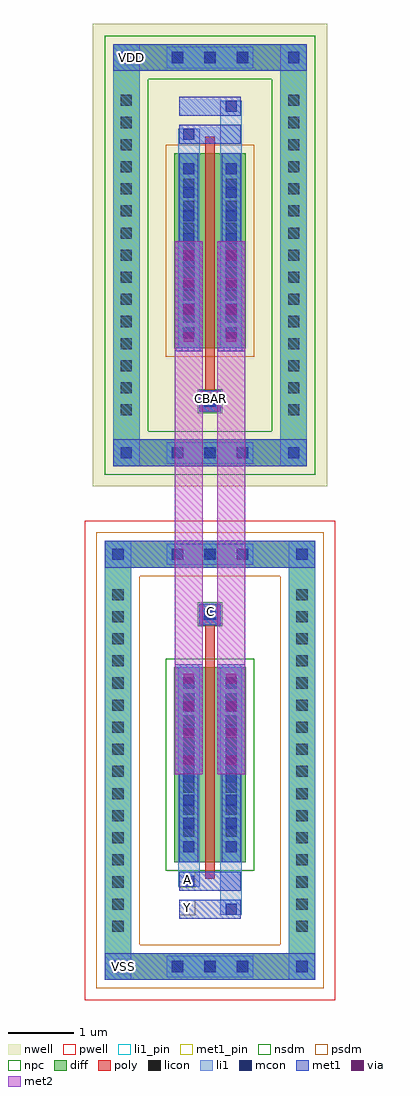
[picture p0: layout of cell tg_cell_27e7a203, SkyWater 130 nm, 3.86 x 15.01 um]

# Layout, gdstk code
import gdstk
lib = gdstk.Library(unit=1e-6, precision=5e-09)
def R(c, l, rs):  # rectangles x0, y0, x1, y1
    for r in rs: c.add(gdstk.rectangle(r[:2], r[2:], *l))
def A(c, l, x, y, w, h, nx, ny, dx, dy):  # array of equal rectangles
    R(c, l, [(x+i*dx, y+j*dy, x+i*dx+w, y+j*dy+h) for i in range(nx) for j in range(ny)])
def P(c, l, *ps):  # polygons
    for p in ps: c.add(gdstk.Polygon(p, *l))
nwell = (64, 20)
pwell = (64, 44)
diff = (65, 20)
poly = (66, 20)
licon = (66, 44)
li1_pin = (67, 16)
li1 = (67, 20)
mcon = (67, 44)
met1_pin = (68, 16)
met1 = (68, 20)
via = (68, 44)
met2 = (69, 20)
nsdm = (93, 44)
psdm = (94, 20)
npc = (95, 20)

tg_cell_27e7a203 = lib.new_cell('tg_cell_27e7a203')
R(tg_cell_27e7a203, nwell, [(-1.8,4.215,1.8,11.325)])
R(tg_cell_27e7a203, pwell, [(-1.93,-3.685,1.93,3.685)])
A(tg_cell_27e7a203, diff, -0.705, -3.375, 0.41, 0.41, 3, 2, 0.5, 6.34)
A(tg_cell_27e7a203, diff, -1.62, -2.755, 0.41, 0.41, 1, 16, 0, 0.34)
A(tg_cell_27e7a203, diff, 1.21, -2.755, 0.41, 0.41, 1, 16, 0, 0.34)
A(tg_cell_27e7a203, diff, -0.705, 4.525, 0.41, 0.41, 3, 2, 0.5, 6.08)
A(tg_cell_27e7a203, diff, -1.49, 5.185, 0.41, 0.41, 1, 15, 0, 0.34)
A(tg_cell_27e7a203, diff, 1.08, 5.185, 0.41, 0.41, 1, 15, 0, 0.34)
R(tg_cell_27e7a203, diff, [(-0.705,-3.375,0.705,-2.965), (-1.62,-2.755,-1.21,2.755), (1.21,-2.755,1.62,2.755), (-0.55,-1.57,0.55,1.43), (-0.705,2.965,0.705,3.375), (-0.705,4.525,0.705,4.935), (-1.49,5.185,-1.08,10.355), (1.08,5.185,1.49,10.355), (-0.55,6.34,0.55,9.34), (-0.705,10.605,0.705,11.015)])
P(tg_cell_27e7a203, diff, [(1.49,11.015),(-1.49,11.015),(-1.49,4.935),(-1.08,4.935),(-1.08,10.605),(1.08,10.605),(1.08,4.935),(-1.08,4.935),(-1.49,4.935),(-1.49,4.525),(1.49,4.525)],
  [(1.62,-3.375),(-1.62,-3.375),(-1.62,2.965),(-1.21,2.965),(-1.21,-2.965),(1.21,-2.965),(1.21,2.965),(-1.21,2.965),(-1.62,2.965),(-1.62,3.375),(1.62,3.375)])
R(tg_cell_27e7a203, poly, [(-0.075,-1.82,0.075,1.68), (-0.075,1.68,0.075,2.08), (-0.165,2.08,0.165,2.41), (-0.165,2.08,0.165,2.41), (-0.165,5.36,0.165,5.69), (-0.165,5.36,0.165,5.69), (-0.075,5.69,0.075,6.09), (-0.075,6.09,0.075,9.59)])
A(tg_cell_27e7a203, licon, -0.585, -3.255, 0.17, 0.17, 3, 2, 0.5, 6.34)
A(tg_cell_27e7a203, licon, -1.5, -2.635, 0.17, 0.17, 1, 16, 0, 0.34)
A(tg_cell_27e7a203, licon, 1.33, -2.635, 0.17, 0.17, 1, 16, 0, 0.34)
A(tg_cell_27e7a203, licon, -0.41, -1.175, 0.17, 0.17, 1, 7, 0, 0.34)
A(tg_cell_27e7a203, licon, 0.24, -1.175, 0.17, 0.17, 1, 7, 0, 0.34)
A(tg_cell_27e7a203, licon, -0.585, 4.645, 0.17, 0.17, 3, 2, 0.5, 6.08)
A(tg_cell_27e7a203, licon, -1.37, 5.305, 0.17, 0.17, 1, 15, 0, 0.34)
A(tg_cell_27e7a203, licon, 1.2, 5.305, 0.17, 0.17, 1, 15, 0, 0.34)
A(tg_cell_27e7a203, licon, -0.41, 6.735, 0.17, 0.17, 1, 7, 0, 0.34)
A(tg_cell_27e7a203, licon, 0.24, 6.735, 0.17, 0.17, 1, 7, 0, 0.34)
R(tg_cell_27e7a203, licon, [(-0.085,2.16,0.085,2.33), (-0.085,5.44,0.085,5.61)])
R(tg_cell_27e7a203, li1_pin, [(-0.12,2.17,0.12,2.41), (-0.12,5.45,0.12,5.69)])
A(tg_cell_27e7a203, li1, -0.665, -3.335, 0.33, 0.33, 3, 2, 0.5, 6.34)
A(tg_cell_27e7a203, li1, -1.58, -2.715, 0.33, 0.33, 1, 16, 0, 0.34)
A(tg_cell_27e7a203, li1, 1.25, -2.715, 0.33, 0.33, 1, 16, 0, 0.34)
A(tg_cell_27e7a203, li1, -0.41, -1.415, 0.17, 0.17, 1, 8, 0, 0.36)
A(tg_cell_27e7a203, li1, 0.24, -1.415, 0.17, 0.17, 1, 8, 0, 0.36)
A(tg_cell_27e7a203, li1, -0.49, -1.255, 0.33, 0.33, 1, 7, 0, 0.34)
A(tg_cell_27e7a203, li1, 0.16, -1.255, 0.33, 0.33, 1, 7, 0, 0.34)
A(tg_cell_27e7a203, li1, -0.665, 4.565, 0.33, 0.33, 3, 2, 0.5, 6.08)
A(tg_cell_27e7a203, li1, -1.45, 5.225, 0.33, 0.33, 1, 15, 0, 0.34)
A(tg_cell_27e7a203, li1, 1.12, 5.225, 0.33, 0.33, 1, 15, 0, 0.34)
A(tg_cell_27e7a203, li1, -0.41, 6.495, 0.17, 0.17, 1, 8, 0, 0.36)
A(tg_cell_27e7a203, li1, 0.24, 6.495, 0.17, 0.17, 1, 8, 0, 0.36)
A(tg_cell_27e7a203, li1, -0.49, 6.655, 0.33, 0.33, 1, 7, 0, 0.34)
A(tg_cell_27e7a203, li1, 0.16, 6.655, 0.33, 0.33, 1, 7, 0, 0.34)
R(tg_cell_27e7a203, li1, [(-1.62,-3.375,-1.21,-2.965), (1.21,-3.375,1.62,-2.965), (-0.665,-3.335,0.665,-3.005), (-1.5,-3.255,-1.33,-3.085), (-1.5,-3.255,-1.33,-3.085), (1.33,-3.255,1.5,-3.085), (1.33,-3.255,1.5,-3.085), (-1.62,-2.965,-1.21,2.965), (1.21,-2.965,1.62,2.965), (0.16,-2.375,0.49,-1.57), (0.24,-2.375,0.41,-2.205), (-0.49,-1.945,-0.16,-1.57), (-0.41,-1.945,-0.24,-1.775), (-0.49,-1.57,-0.16,1.43), (0.16,-1.57,0.49,1.43), (-0.41,-1.415,-0.24,1.275), (0.24,-1.415,0.41,1.275), (-0.165,2.08,0.165,2.41), (-1.62,2.965,-1.21,3.375), (1.21,2.965,1.62,3.375), (-0.665,3.005,0.665,3.335), (-1.5,3.085,-1.33,3.255), (-1.5,3.085,-1.33,3.255), (1.33,3.085,1.5,3.255), (1.33,3.085,1.5,3.255), (-1.49,4.525,-1.08,4.935), (1.08,4.525,1.49,4.935), (-0.665,4.565,0.665,4.895), (-1.37,4.645,-1.2,4.815), (-1.37,4.645,-1.2,4.815), (1.2,4.645,1.37,4.815), (1.2,4.645,1.37,4.815), (-1.49,4.935,-1.08,10.605), (1.08,4.935,1.49,10.605), (-0.165,5.36,0.165,5.69), (-0.49,6.34,-0.16,9.34), (0.16,6.34,0.49,9.34), (-0.41,6.495,-0.24,9.185), (0.24,6.495,0.41,9.185), (-0.49,9.34,-0.16,9.715), (0.16,9.34,0.49,10.145), (-0.41,9.545,-0.24,9.715), (0.24,9.975,0.41,10.145), (-1.49,10.605,-1.08,11.015), (1.08,10.605,1.49,11.015), (-0.665,10.645,0.665,10.975), (-1.37,10.725,-1.2,10.895), (-1.37,10.725,-1.2,10.895), (1.2,10.725,1.37,10.895), (1.2,10.725,1.37,10.895)])
A(tg_cell_27e7a203, mcon, -0.585, -3.255, 0.17, 0.17, 3, 2, 0.5, 6.34)
A(tg_cell_27e7a203, mcon, -0.41, -1.415, 0.17, 0.17, 1, 8, 0, 0.36)
A(tg_cell_27e7a203, mcon, 0.24, -1.415, 0.17, 0.17, 1, 8, 0, 0.36)
A(tg_cell_27e7a203, mcon, -0.585, 4.645, 0.17, 0.17, 3, 2, 0.5, 6.08)
A(tg_cell_27e7a203, mcon, -0.41, 6.495, 0.17, 0.17, 1, 8, 0, 0.36)
A(tg_cell_27e7a203, mcon, 0.24, 6.495, 0.17, 0.17, 1, 8, 0, 0.36)
R(tg_cell_27e7a203, mcon, [(-1.5,-3.255,-1.33,-3.085), (1.33,-3.255,1.5,-3.085), (0.24,-2.375,0.41,-2.205), (-0.41,-1.945,-0.24,-1.775), (-0.085,2.16,0.085,2.33), (-1.5,3.085,-1.33,3.255), (1.33,3.085,1.5,3.255), (-1.37,4.645,-1.2,4.815), (1.2,4.645,1.37,4.815), (-0.085,5.44,0.085,5.61), (-0.41,9.545,-0.24,9.715), (0.24,9.975,0.41,10.145), (-1.37,10.725,-1.2,10.895), (1.2,10.725,1.37,10.895)])
R(tg_cell_27e7a203, met1_pin, [(-1.45,-3.29,-1.21,-3.05), (-0.47,-2.385,-0.23,-2.145), (-0.47,-1.955,-0.23,-1.715), (-1.32,10.69,-1.08,10.93)])
A(tg_cell_27e7a203, met1, -0.645, -3.315, 0.29, 0.29, 3, 2, 0.5, 6.34)
A(tg_cell_27e7a203, met1, -0.47, -1.475, 0.29, 0.29, 1, 8, 0, 0.36)
A(tg_cell_27e7a203, met1, 0.18, -1.475, 0.29, 0.29, 1, 8, 0, 0.36)
A(tg_cell_27e7a203, met1, -0.645, 4.585, 0.29, 0.29, 3, 2, 0.5, 6.08)
A(tg_cell_27e7a203, met1, -0.47, 6.435, 0.29, 0.29, 1, 8, 0, 0.36)
A(tg_cell_27e7a203, met1, 0.18, 6.435, 0.29, 0.29, 1, 8, 0, 0.36)
R(tg_cell_27e7a203, met1, [(-1.62,-3.375,-1.21,-2.965), (-1.62,-3.375,-1.21,-2.965), (-1.21,-3.375,1.21,-2.965), (1.21,-3.375,1.62,-2.965), (1.21,-3.375,1.62,-2.965), (-1.56,-3.315,-1.27,-3.025), (1.27,-3.315,1.56,-3.025), (-0.47,-2.435,0.47,-2.145), (0.18,-2.435,0.47,-2.145), (-0.47,-2.005,-0.18,-1.715), (-0.47,-2.005,0.47,-1.715), (-0.47,-1.57,-0.18,1.43), (0.18,-1.57,0.47,1.43), (-0.54,-0.215,-0.11,0.215), (-0.54,-0.215,-0.11,0.215), (0.11,-0.215,0.54,0.215), (0.11,-0.215,0.54,0.215), (-0.54,0.205,-0.11,0.635), (-0.54,0.205,-0.11,0.635), (0.11,0.205,0.54,0.635), (0.11,0.205,0.54,0.635), (-0.54,0.625,-0.11,1.055), (-0.54,0.625,-0.11,1.055), (0.11,0.625,0.54,1.055), (0.11,0.625,0.54,1.055), (-0.54,1.045,-0.11,1.475), (-0.54,1.045,-0.11,1.475), (0.11,1.045,0.54,1.475), (0.11,1.045,0.54,1.475), (-0.165,2.08,0.165,2.41), (-0.145,2.1,0.145,2.39), (-1.62,2.965,-1.21,3.375), (-1.62,2.965,-1.21,3.375), (-1.21,2.965,1.21,3.375), (1.21,2.965,1.62,3.375), (1.21,2.965,1.62,3.375), (-1.56,3.025,-1.27,3.315), (1.27,3.025,1.56,3.315), (-1.49,4.525,-1.08,4.935), (-1.49,4.525,-1.08,4.935), (-1.08,4.525,1.08,4.935), (1.08,4.525,1.49,4.935), (1.08,4.525,1.49,4.935), (-1.43,4.585,-1.14,4.875), (1.14,4.585,1.43,4.875), (-0.165,5.36,0.165,5.69), (-0.145,5.38,0.145,5.67), (-0.54,6.295,-0.11,6.725), (-0.54,6.295,-0.11,6.725), (0.11,6.295,0.54,6.725), (0.11,6.295,0.54,6.725), (-0.47,6.34,-0.18,9.34), (0.18,6.34,0.47,9.34), (-0.54,6.715,-0.11,7.145), (-0.54,6.715,-0.11,7.145), (0.11,6.715,0.54,7.145), (0.11,6.715,0.54,7.145), (-0.54,7.135,-0.11,7.565), (-0.54,7.135,-0.11,7.565), (0.11,7.135,0.54,7.565), (0.11,7.135,0.54,7.565), (-0.54,7.555,-0.11,7.985), (-0.54,7.555,-0.11,7.985), (0.11,7.555,0.54,7.985), (0.11,7.555,0.54,7.985), (-0.47,9.485,-0.18,9.775), (-0.47,9.485,0.47,9.775), (-0.47,9.915,0.47,10.205), (0.18,9.915,0.47,10.205), (-1.49,10.605,-1.08,11.015), (-1.49,10.605,-1.08,11.015), (-1.08,10.605,1.08,11.015), (1.08,10.605,1.49,11.015), (1.08,10.605,1.49,11.015), (-1.43,10.665,-1.14,10.955), (1.14,10.665,1.43,10.955)])
A(tg_cell_27e7a203, via, -0.4, -0.075, 0.15, 0.15, 1, 4, 0, 0.42)
A(tg_cell_27e7a203, via, 0.25, -0.075, 0.15, 0.15, 1, 4, 0, 0.42)
A(tg_cell_27e7a203, via, -0.4, 6.435, 0.15, 0.15, 1, 4, 0, 0.42)
A(tg_cell_27e7a203, via, 0.25, 6.435, 0.15, 0.15, 1, 4, 0, 0.42)
A(tg_cell_27e7a203, met2, -0.54, -0.215, 0.43, 0.43, 1, 4, 0, 0.42)
A(tg_cell_27e7a203, met2, 0.11, -0.215, 0.43, 0.43, 1, 4, 0, 0.42)
A(tg_cell_27e7a203, met2, -0.49, -0.165, 0.33, 0.33, 1, 4, 0, 0.42)
A(tg_cell_27e7a203, met2, 0.16, -0.165, 0.33, 0.33, 1, 4, 0, 0.42)
A(tg_cell_27e7a203, met2, -0.54, 6.295, 0.43, 0.43, 1, 4, 0, 0.42)
A(tg_cell_27e7a203, met2, 0.11, 6.295, 0.43, 0.43, 1, 4, 0, 0.42)
A(tg_cell_27e7a203, met2, -0.49, 6.345, 0.33, 0.33, 1, 4, 0, 0.42)
A(tg_cell_27e7a203, met2, 0.16, 6.345, 0.33, 0.33, 1, 4, 0, 0.42)
R(tg_cell_27e7a203, met2, [(-0.54,-0.215,-0.11,7.985), (0.11,-0.215,0.54,7.985)])
R(tg_cell_27e7a203, nsdm, [(-0.68,-1.7,0.68,1.56)])
P(tg_cell_27e7a203, nsdm, [(1.62,11.145),(-1.62,11.145),(-1.62,5.065),(-0.95,5.065),(-0.95,10.475),(0.95,10.475),(0.95,5.065),(-0.95,5.065),(-1.62,5.065),(-1.62,4.395),(1.62,4.395)])
R(tg_cell_27e7a203, psdm, [(-0.68,6.21,0.68,9.47)])
P(tg_cell_27e7a203, psdm, [(1.75,-3.505),(-1.75,-3.505),(-1.75,2.835),(-1.08,2.835),(-1.08,-2.835),(1.08,-2.835),(1.08,2.835),(-1.08,2.835),(-1.75,2.835),(-1.75,3.505),(1.75,3.505)])
R(tg_cell_27e7a203, npc, [(-0.185,2.06,0.185,2.43), (-0.185,2.06,0.185,2.43), (-0.185,5.34,0.185,5.71), (-0.185,5.34,0.185,5.71)])
tg_cell_27e7a203.add(gdstk.Label('CBAR', (0,5.57), layer=67, texttype=5))
tg_cell_27e7a203.add(gdstk.Label('C', (0,2.29), layer=67, texttype=5))
tg_cell_27e7a203.add(gdstk.Label('Y', (-0.35,-2.265), layer=68, texttype=5))
tg_cell_27e7a203.add(gdstk.Label('A', (-0.35,-1.835), layer=68, texttype=5))
tg_cell_27e7a203.add(gdstk.Label('VSS', (-1.33,-3.17), layer=68, texttype=5))
tg_cell_27e7a203.add(gdstk.Label('VDD', (-1.2,10.81), layer=68, texttype=5))

lib.write_gds('tg_cell_27e7a203.gds')
